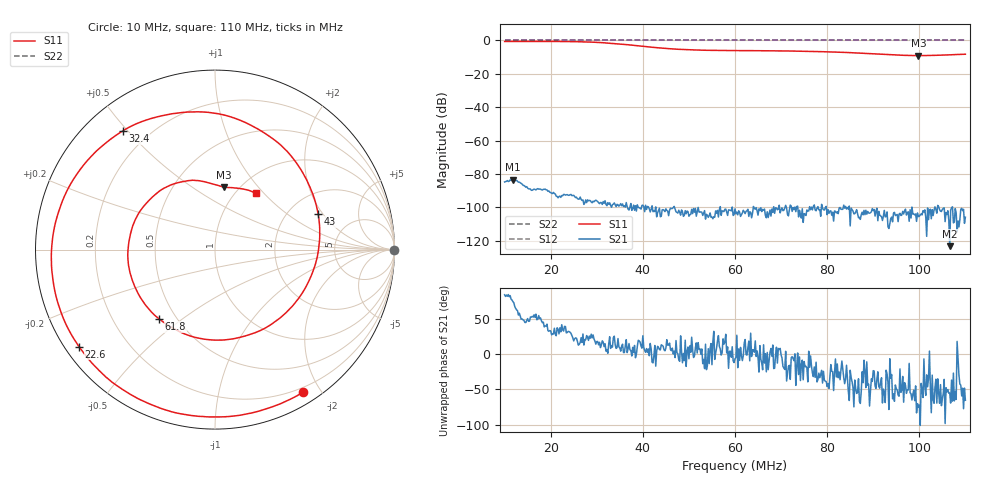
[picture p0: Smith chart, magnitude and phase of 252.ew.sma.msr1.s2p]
! Anritsu VNA Master:  Model: MS2036C/10/77
! SN:  1601066
! /card0/usr/msr1.s2p
! Existing Calibration Information:
! TYPE:  Current Settings,  Active Cal Settings
! TIME:  12/20/2017 03:58:31 PM,  12/20/2017 03:36:34 PM
! INTERNAL TEMP:  44.0 C,  44.5 C
! # POINTS:  501,  501
! START FREQ:  10.000 MHz,  10.000 MHz
! STOP FREQ:  110.000 MHz,  110.000 MHz
! SOURCE POWER:  High,  High
! IFBW:  100 Hz,  100 Hz
! AVG FACTOR:  1 ,  1
! REF PLANE 1:  0 mm,  0 mm
! REF PLANE 2:  0 mm,  0 mm
! CAL TYPE:  Full S11,  Full S11
! CAL METHOD:  SOLT,  SOLT
! CAL LINE TYPE:  Coax,  Coax
! DUT PORT 1:  K-Conn(F),  K-Conn(F)
! DUT PORT 2:  K-Conn(F),  K-Conn(F)
! CAL STATUS:  OK: Accuracy High,  --
# GHZ S DB R 50.0
! FREQ.GHZ  S11DB  S11A  S21DB  S21A  S12DB  S12A  S22DB  S22A
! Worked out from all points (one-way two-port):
!   501 points, 10 MHz to 110 MHz, reference 50 ohm
!   highest |S21| = -83.42 dB at 11.8 MHz (marker M1); lowest = -123.2 dB at 106.6 MHz (marker M2)
!   lowest |S11| = -9.1 dB at 99.8 MHz (marker M3), VSWR 2.08, Z = 43 + j34.1 ohm
!   |S11| at or under -10 dB: nowhere
!   |S22| runs from 0.0 to 0.0 dB; largest |S21 - S12| = 1
!   S11 on the Smith chart (normalised r, x): 10 MHz: 0.15, -1.78; 22.6 MHz: 0.04, -0.32; 32.4 MHz: 0.11, +0.48; 43 MHz: 2.86, +1.80; 61.8 MHz: 0.40, -0.41; 110 MHz: 1.22, +0.90
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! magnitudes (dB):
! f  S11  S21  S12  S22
! 10 MHz  -0.6  -84.7  0.0  0.0
! 11.8 MHz  -0.6  -83.4  0.0  0.0
! 22.6 MHz  -0.6  -93.0  0.0  0.0
! 26.8 MHz  -0.8  -95.8  0.0  0.0
! 29.4 MHz  -1.1  -96.6  0.0  0.0
! 32.4 MHz  -1.5  -97.1  0.0  0.0
! 36.4 MHz  -2.5  -97.0  0.0  0.0
! 43 MHz  -4.3  -105.6  0.0  0.0
! 43.4 MHz  -4.4  -101.8  0.0  0.0
! 46.8 MHz  -5.1  -99.3  0.0  0.0
! 50 MHz  -5.6  -105.2  0.0  0.0
! 53.6 MHz  -5.9  -107.0  0.0  0.0
! 60 MHz  -6.1  -100.8  0.0  0.0
! 61.8 MHz  -6.1  -101.7  0.0  0.0
! 69.4 MHz  -6.2  -101.0  0.0  0.0
! 76.8 MHz  -6.5  -101.4  0.0  0.0
! 84.2 MHz  -7.2  -100.9  0.0  0.0
! 93.4 MHz  -8.6  -112.6  0.0  0.0
! 97.6 MHz  -9.0  -102.6  0.0  0.0
! 99.8 MHz  -9.1  -105.5  0.0  0.0
! 106.6 MHz  -8.6  -123.2  0.0  0.0
! 110 MHz  -8.2  -105.8  0.0  0.0
